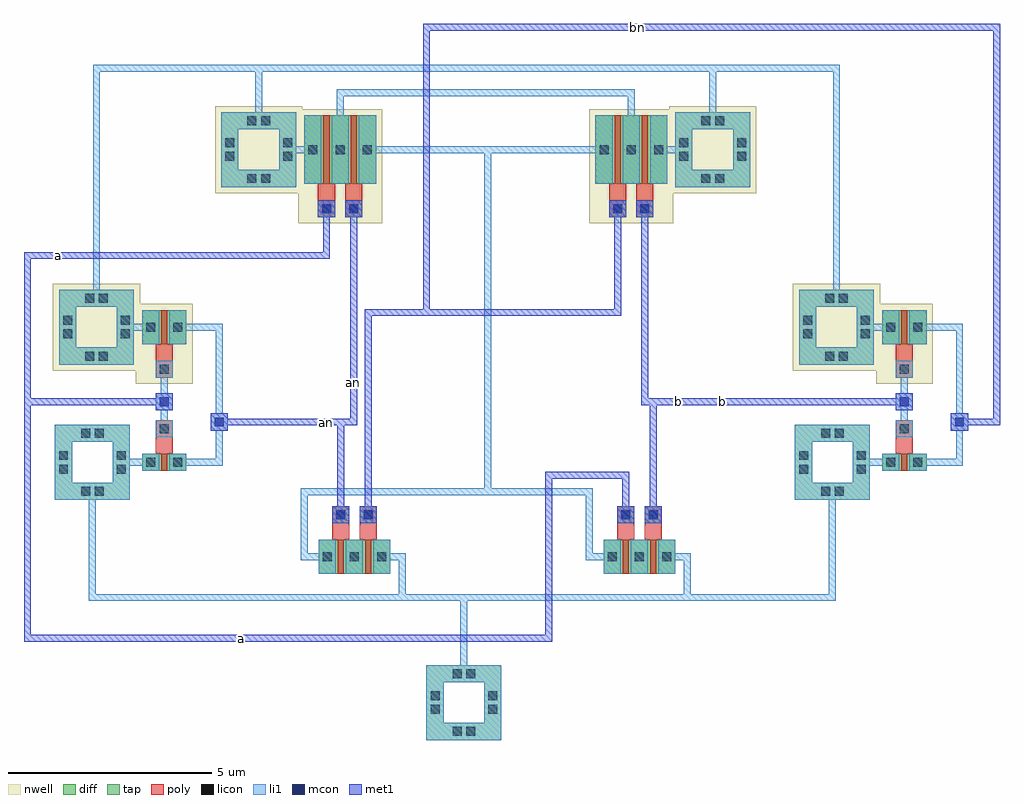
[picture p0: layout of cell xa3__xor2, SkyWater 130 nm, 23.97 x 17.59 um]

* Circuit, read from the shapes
.subckt xa3__xor2 a an b bn vdd vss
XM1 an a vss vss sky130_fd_pr__nfet_01v8 w=0.42 l=0.15
XM2 n1 an core__core$10_0/y vss sky130_fd_pr__nfet_01v8 w=0.84 l=0.15
XM3 vss bn n1 vss sky130_fd_pr__nfet_01v8 w=0.84 l=0.15
XM4 n2 a core__core$10_0/y vss sky130_fd_pr__nfet_01v8 w=0.84 l=0.15
XM5 vss b n2 vss sky130_fd_pr__nfet_01v8 w=0.84 l=0.15
XM6 bn b vss vss sky130_fd_pr__nfet_01v8 w=0.42 l=0.15
XM7 an a vdd vdd sky130_fd_pr__pfet_01v8 w=0.84 l=0.15
XM8 core__core$10_0/mid a vdd vdd sky130_fd_pr__pfet_01v8 w=1.68 l=0.15
XM9 core__core$10_0/y an core__core$10_0/mid vdd sky130_fd_pr__pfet_01v8 w=1.68 l=0.15
XM10 core__core$10_0/mid bn core__core$10_0/y vdd sky130_fd_pr__pfet_01v8 w=1.68 l=0.15
XM11 vdd b core__core$10_0/mid vdd sky130_fd_pr__pfet_01v8 w=1.68 l=0.15
XM12 bn b vdd vdd sky130_fd_pr__pfet_01v8 w=0.84 l=0.15
.ends

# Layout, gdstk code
from math import pi, radians
import gdstk
lib = gdstk.Library(unit=1e-6, precision=1e-09)
def R(c, l, rs):  # rectangles x0, y0, x1, y1
    for r in rs: c.add(gdstk.rectangle(r[:2], r[2:], *l))
def A(c, l, x, y, w, h, nx, ny, dx, dy):  # array of equal rectangles
    R(c, l, [(x+i*dx, y+j*dy, x+i*dx+w, y+j*dy+h) for i in range(nx) for j in range(ny)])
def P(c, l, *ps):  # polygons
    for p in ps: c.add(gdstk.Polygon(p, *l))
nwell = (64, 20)
diff = (65, 20)
tap = (65, 44)
poly = (66, 20)
licon = (66, 44)
li1 = (67, 20)
mcon = (67, 44)
met1 = (68, 20)

guard_ring_4_6 = lib.new_cell('guard_ring$4$6')
P(guard_ring_4_6, tap, [(0,0),(0,1.42),(0.42,1.42),(0.42,0.42),(1.42,0.42),(1.42,1.42),(0,1.42),(0,1.84),(1.84,1.84),(1.84,0)])
R(guard_ring_4_6, licon, [(0.643,0.1,0.863,0.32), (0.977,0.1,1.197,0.32), (0.1,0.643,0.32,0.863), (1.52,0.643,1.74,0.863), (0.1,0.977,0.32,1.197), (1.52,0.977,1.74,1.197), (0.643,1.52,0.863,1.74), (0.977,1.52,1.197,1.74)])
P(guard_ring_4_6, li1, [(0,0),(0,1.42),(0.42,1.42),(0.42,0.42),(1.42,0.42),(1.42,1.42),(0,1.42),(0,1.84),(1.84,1.84),(1.84,0)])

psub_tap__psub_tap_1_6 = lib.new_cell('psub_tap__psub_tap$1$6')
psub_tap__psub_tap_1_6.add(gdstk.Reference(guard_ring_4_6, (0,0)))

mos_array_5_6 = lib.new_cell('mos_array$5$6')
R(mos_array_5_6, diff, [(0,0,1.09,0.42)])
R(mos_array_5_6, poly, [(0.47,0,0.62,0.42), (0.335,0.42,0.755,1.24)])
R(mos_array_5_6, licon, [(0.1,0.1,0.32,0.32), (0.77,0.1,0.99,0.32), (0.435,0.92,0.655,1.14)])
R(mos_array_5_6, li1, [(0,0,0.42,0.42), (0.67,0,1.09,0.42), (0.335,0.82,0.755,1.24)])

mn__nfet_w0p42_l0p15_1_3 = lib.new_cell('mn__nfet_w0p42_l0p15$1$3')
mn__nfet_w0p42_l0p15_1_3.add(gdstk.Reference(mos_array_5_6, (0,0)))

guard_ring_1_2_6 = lib.new_cell('guard_ring$1$2$6')
R(guard_ring_1_2_6, nwell, [(-0.15,-0.15,1.99,1.99)])
P(guard_ring_1_2_6, tap, [(0,0),(0,1.42),(0.42,1.42),(0.42,0.42),(1.42,0.42),(1.42,1.42),(0,1.42),(0,1.84),(1.84,1.84),(1.84,0)])
R(guard_ring_1_2_6, licon, [(0.643,0.1,0.863,0.32), (0.977,0.1,1.197,0.32), (0.1,0.643,0.32,0.863), (1.52,0.643,1.74,0.863), (0.1,0.977,0.32,1.197), (1.52,0.977,1.74,1.197), (0.643,1.52,0.863,1.74), (0.977,1.52,1.197,1.74)])
P(guard_ring_1_2_6, li1, [(0,0),(0,1.42),(0.42,1.42),(0.42,0.42),(1.42,0.42),(1.42,1.42),(0,1.42),(0,1.84),(1.84,1.84),(1.84,0)])

nwell_tap__nwell_tap_1_6 = lib.new_cell('nwell_tap__nwell_tap$1$6')
nwell_tap__nwell_tap_1_6.add(gdstk.Reference(guard_ring_1_2_6, (0,0)))

mos_array_1_2_6 = lib.new_cell('mos_array$1$2$6')
R(mos_array_1_2_6, nwell, [(-0.15,-0.15,1.24,1.81)])
R(mos_array_1_2_6, diff, [(0,0,1.09,0.84)])
R(mos_array_1_2_6, poly, [(0.47,0,0.62,0.84), (0.335,0.84,0.755,1.66)])
R(mos_array_1_2_6, licon, [(0.1,0.31,0.32,0.53), (0.77,0.31,0.99,0.53), (0.435,1.34,0.655,1.56)])
R(mos_array_1_2_6, li1, [(0,0,0.42,0.84), (0.67,0,1.09,0.84), (0.335,1.24,0.755,1.66)])

mp__pfet_w0p84_l0p15_1_3 = lib.new_cell('mp__pfet_w0p84_l0p15$1$3')
mp__pfet_w0p84_l0p15_1_3.add(gdstk.Reference(mos_array_1_2_6, (0,0)))

inv_b__ro_buf_2 = lib.new_cell('inv_b__ro_buf$2')
R(inv_b__ro_buf_2, li1, [(0.335,1.03,0.755,1.2), (0.335,2.33,0.755,2.5)])
inv_b__ro_buf_2.add(gdstk.FlexPath([(0.545,2.5),(0.545,1.03)], 0.17, ends="flush", simple_path=True, layer=67, datatype=20))  # li1
inv_b__ro_buf_2.add(gdstk.FlexPath([(0.88,3.53),(1.9,3.53),(1.9,0.21),(0.88,0.21)], 0.17, ends="flush", simple_path=True, layer=67, datatype=20))  # li1
inv_b__ro_buf_2.add(gdstk.FlexPath([(0.21,3.53),(-0.41,3.53)], 0.17, ends="flush", simple_path=True, layer=67, datatype=20))  # li1
inv_b__ro_buf_2.add(gdstk.FlexPath([(0.21,0.21),(-0.51,0.21)], 0.17, ends="flush", simple_path=True, layer=67, datatype=20))  # li1
inv_b__ro_buf_2.add(gdstk.Reference(psub_tap__psub_tap_1_6, (-2.14,-0.71)))
inv_b__ro_buf_2.add(gdstk.Reference(mn__nfet_w0p42_l0p15_1_3, (0,0)))
inv_b__ro_buf_2.add(gdstk.Reference(nwell_tap__nwell_tap_1_6, (-2.04,2.61)))
inv_b__ro_buf_2.add(gdstk.Reference(mp__pfet_w0p84_l0p15_1_3, (0,3.95), x_reflection=True))
inv_b__ro_buf_2.add(gdstk.Label('a', (0.545,1.765), layer=67, texttype=5))
inv_b__ro_buf_2.add(gdstk.Label('y', (1.9,1.87), layer=67, texttype=5))
inv_b__ro_buf_2.add(gdstk.Label('vdd', (-0.1,3.53), layer=67, texttype=5))
inv_b__ro_buf_2.add(gdstk.Label('vss', (-0.15,0.21), layer=67, texttype=5))
inv_b__ro_buf_2.add(gdstk.Label('vdd', (-1.12,4.24), layer=67, texttype=5))
inv_b__ro_buf_2.add(gdstk.Label('vss', (-1.22,0.92), layer=67, texttype=5))

guard_ring_3_6 = lib.new_cell('guard_ring$3$6')
P(guard_ring_3_6, tap, [(0,0),(0,1.42),(0.42,1.42),(0.42,0.42),(1.42,0.42),(1.42,1.42),(0,1.42),(0,1.84),(1.84,1.84),(1.84,0)])
R(guard_ring_3_6, licon, [(0.643,0.1,0.863,0.32), (0.977,0.1,1.197,0.32), (0.1,0.643,0.32,0.863), (1.52,0.643,1.74,0.863), (0.1,0.977,0.32,1.197), (1.52,0.977,1.74,1.197), (0.643,1.52,0.863,1.74), (0.977,1.52,1.197,1.74)])
P(guard_ring_3_6, li1, [(0,0),(0,1.42),(0.42,1.42),(0.42,0.42),(1.42,0.42),(1.42,1.42),(0,1.42),(0,1.84),(1.84,1.84),(1.84,0)])

psub_tap__psub_tap_14 = lib.new_cell('psub_tap__psub_tap$14')
psub_tap__psub_tap_14.add(gdstk.Reference(guard_ring_3_6, (0,0)))

mos_array_4_6 = lib.new_cell('mos_array$4$6')
R(mos_array_4_6, diff, [(0,0,1.09,0.42)])
R(mos_array_4_6, poly, [(0.47,0,0.62,0.42), (0.335,0.42,0.755,1.24)])
R(mos_array_4_6, licon, [(0.1,0.1,0.32,0.32), (0.77,0.1,0.99,0.32), (0.435,0.92,0.655,1.14)])
R(mos_array_4_6, li1, [(0,0,0.42,0.42), (0.67,0,1.09,0.42), (0.335,0.82,0.755,1.24)])

mn__nfet_w0p42_l0p15_6 = lib.new_cell('mn__nfet_w0p42_l0p15$6')
mn__nfet_w0p42_l0p15_6.add(gdstk.Reference(mos_array_4_6, (0,0)))

guard_ring_1_1_6 = lib.new_cell('guard_ring$1$1$6')
R(guard_ring_1_1_6, nwell, [(-0.15,-0.15,1.99,1.99)])
P(guard_ring_1_1_6, tap, [(0,0),(0,1.42),(0.42,1.42),(0.42,0.42),(1.42,0.42),(1.42,1.42),(0,1.42),(0,1.84),(1.84,1.84),(1.84,0)])
R(guard_ring_1_1_6, licon, [(0.643,0.1,0.863,0.32), (0.977,0.1,1.197,0.32), (0.1,0.643,0.32,0.863), (1.52,0.643,1.74,0.863), (0.1,0.977,0.32,1.197), (1.52,0.977,1.74,1.197), (0.643,1.52,0.863,1.74), (0.977,1.52,1.197,1.74)])
P(guard_ring_1_1_6, li1, [(0,0),(0,1.42),(0.42,1.42),(0.42,0.42),(1.42,0.42),(1.42,1.42),(0,1.42),(0,1.84),(1.84,1.84),(1.84,0)])

nwell_tap__nwell_tap_14 = lib.new_cell('nwell_tap__nwell_tap$14')
nwell_tap__nwell_tap_14.add(gdstk.Reference(guard_ring_1_1_6, (0,0)))

mos_array_1_1_6 = lib.new_cell('mos_array$1$1$6')
R(mos_array_1_1_6, nwell, [(-0.15,-0.15,1.24,1.81)])
R(mos_array_1_1_6, diff, [(0,0,1.09,0.84)])
R(mos_array_1_1_6, poly, [(0.47,0,0.62,0.84), (0.335,0.84,0.755,1.66)])
R(mos_array_1_1_6, licon, [(0.1,0.31,0.32,0.53), (0.77,0.31,0.99,0.53), (0.435,1.34,0.655,1.56)])
R(mos_array_1_1_6, li1, [(0,0,0.42,0.84), (0.67,0,1.09,0.84), (0.335,1.24,0.755,1.66)])

mp__pfet_w0p84_l0p15_6 = lib.new_cell('mp__pfet_w0p84_l0p15$6')
mp__pfet_w0p84_l0p15_6.add(gdstk.Reference(mos_array_1_1_6, (0,0)))

inv_a__ro_buf_2 = lib.new_cell('inv_a__ro_buf$2')
R(inv_a__ro_buf_2, li1, [(0.335,1.03,0.755,1.2), (0.335,2.33,0.755,2.5)])
inv_a__ro_buf_2.add(gdstk.FlexPath([(0.545,2.5),(0.545,1.03)], 0.17, ends="flush", simple_path=True, layer=67, datatype=20))  # li1
inv_a__ro_buf_2.add(gdstk.FlexPath([(0.88,3.53),(1.9,3.53),(1.9,0.21),(0.88,0.21)], 0.17, ends="flush", simple_path=True, layer=67, datatype=20))  # li1
inv_a__ro_buf_2.add(gdstk.FlexPath([(0.21,3.53),(-0.41,3.53)], 0.17, ends="flush", simple_path=True, layer=67, datatype=20))  # li1
inv_a__ro_buf_2.add(gdstk.FlexPath([(0.21,0.21),(-0.51,0.21)], 0.17, ends="flush", simple_path=True, layer=67, datatype=20))  # li1
inv_a__ro_buf_2.add(gdstk.Reference(psub_tap__psub_tap_14, (-2.14,-0.71)))
inv_a__ro_buf_2.add(gdstk.Reference(mn__nfet_w0p42_l0p15_6, (0,0)))
inv_a__ro_buf_2.add(gdstk.Reference(nwell_tap__nwell_tap_14, (-2.04,2.61)))
inv_a__ro_buf_2.add(gdstk.Reference(mp__pfet_w0p84_l0p15_6, (0,3.95), x_reflection=True))
inv_a__ro_buf_2.add(gdstk.Label('a', (0.545,1.765), layer=67, texttype=5))
inv_a__ro_buf_2.add(gdstk.Label('y', (1.9,1.87), layer=67, texttype=5))
inv_a__ro_buf_2.add(gdstk.Label('vdd', (-0.1,3.53), layer=67, texttype=5))
inv_a__ro_buf_2.add(gdstk.Label('vss', (-0.15,0.21), layer=67, texttype=5))
inv_a__ro_buf_2.add(gdstk.Label('vdd', (-1.12,4.24), layer=67, texttype=5))
inv_a__ro_buf_2.add(gdstk.Label('vss', (-1.22,0.92), layer=67, texttype=5))

guard_ring_2_6 = lib.new_cell('guard_ring$2$6')
P(guard_ring_2_6, tap, [(0,0),(0,1.42),(0.42,1.42),(0.42,0.42),(1.42,0.42),(1.42,1.42),(0,1.42),(0,1.84),(1.84,1.84),(1.84,0)])
R(guard_ring_2_6, licon, [(0.643,0.1,0.863,0.32), (0.977,0.1,1.197,0.32), (0.1,0.643,0.32,0.863), (1.52,0.643,1.74,0.863), (0.1,0.977,0.32,1.197), (1.52,0.977,1.74,1.197), (0.643,1.52,0.863,1.74), (0.977,1.52,1.197,1.74)])
P(guard_ring_2_6, li1, [(0,0),(0,1.42),(0.42,1.42),(0.42,0.42),(1.42,0.42),(1.42,1.42),(0,1.42),(0,1.84),(1.84,1.84),(1.84,0)])

pst__pst_2 = lib.new_cell('pst__pst$2')
pst__pst_2.add(gdstk.Reference(guard_ring_2_6, (0,0)))

guard_ring_1_14 = lib.new_cell('guard_ring$1$14')
R(guard_ring_1_14, nwell, [(-0.15,-0.15,1.99,1.99)])
P(guard_ring_1_14, tap, [(0,0),(0,1.42),(0.42,1.42),(0.42,0.42),(1.42,0.42),(1.42,1.42),(0,1.42),(0,1.84),(1.84,1.84),(1.84,0)])
R(guard_ring_1_14, licon, [(0.643,0.1,0.863,0.32), (0.977,0.1,1.197,0.32), (0.1,0.643,0.32,0.863), (1.52,0.643,1.74,0.863), (0.1,0.977,0.32,1.197), (1.52,0.977,1.74,1.197), (0.643,1.52,0.863,1.74), (0.977,1.52,1.197,1.74)])
P(guard_ring_1_14, li1, [(0,0),(0,1.42),(0.42,1.42),(0.42,0.42),(1.42,0.42),(1.42,1.42),(0,1.42),(0,1.84),(1.84,1.84),(1.84,0)])

nwt2__nwt2_2 = lib.new_cell('nwt2__nwt2$2')
nwt2__nwt2_2.add(gdstk.Reference(guard_ring_1_14, (0,0)))

guard_ring_15 = lib.new_cell('guard_ring$15')
R(guard_ring_15, nwell, [(-0.15,-0.15,1.99,1.99)])
P(guard_ring_15, tap, [(0,0),(0,1.42),(0.42,1.42),(0.42,0.42),(1.42,0.42),(1.42,1.42),(0,1.42),(0,1.84),(1.84,1.84),(1.84,0)])
R(guard_ring_15, licon, [(0.643,0.1,0.863,0.32), (0.977,0.1,1.197,0.32), (0.1,0.643,0.32,0.863), (1.52,0.643,1.74,0.863), (0.1,0.977,0.32,1.197), (1.52,0.977,1.74,1.197), (0.643,1.52,0.863,1.74), (0.977,1.52,1.197,1.74)])
P(guard_ring_15, li1, [(0,0),(0,1.42),(0.42,1.42),(0.42,0.42),(1.42,0.42),(1.42,1.42),(0,1.42),(0,1.84),(1.84,1.84),(1.84,0)])

nwt1__nwt1_2 = lib.new_cell('nwt1__nwt1$2')
nwt1__nwt1_2.add(gdstk.Reference(guard_ring_15, (0,0)))

mos_array_3_10 = lib.new_cell('mos_array$3$10')
R(mos_array_3_10, diff, [(0,0,1.76,0.84)])
R(mos_array_3_10, poly, [(0.47,0,0.62,0.84), (1.14,0,1.29,0.84), (0.335,0.84,0.755,1.66), (1.005,0.84,1.425,1.66)])
A(mos_array_3_10, licon, 0.1, 0.31, 0.22, 0.22, 3, 1, 0.67, 0)
R(mos_array_3_10, licon, [(0.435,1.34,0.655,1.56), (1.105,1.34,1.325,1.56)])
A(mos_array_3_10, li1, 0, 0, 0.42, 0.84, 3, 1, 0.67, 0)
R(mos_array_3_10, li1, [(0.335,1.24,0.755,1.66), (1.005,1.24,1.425,1.66)])

mn12__mn12_2 = lib.new_cell('mn12__mn12$2')
mn12__mn12_2.add(gdstk.Reference(mos_array_3_10, (0,0)))

mos_array_2_10 = lib.new_cell('mos_array$2$10')
R(mos_array_2_10, diff, [(0,0,1.76,0.84)])
R(mos_array_2_10, poly, [(0.47,0,0.62,0.84), (1.14,0,1.29,0.84), (0.335,0.84,0.755,1.66), (1.005,0.84,1.425,1.66)])
A(mos_array_2_10, licon, 0.1, 0.31, 0.22, 0.22, 3, 1, 0.67, 0)
R(mos_array_2_10, licon, [(0.435,1.34,0.655,1.56), (1.105,1.34,1.325,1.56)])
A(mos_array_2_10, li1, 0, 0, 0.42, 0.84, 3, 1, 0.67, 0)
R(mos_array_2_10, li1, [(0.335,1.24,0.755,1.66), (1.005,1.24,1.425,1.66)])

mn34__mn34_2 = lib.new_cell('mn34__mn34$2')
mn34__mn34_2.add(gdstk.Reference(mos_array_2_10, (0,0)))

mos_array_1_14 = lib.new_cell('mos_array$1$14')
R(mos_array_1_14, nwell, [(-0.15,-0.15,1.91,2.65)])
R(mos_array_1_14, diff, [(0,0,1.76,1.68)])
R(mos_array_1_14, poly, [(0.47,0,0.62,1.68), (1.14,0,1.29,1.68), (0.335,1.68,0.755,2.5), (1.005,1.68,1.425,2.5)])
A(mos_array_1_14, licon, 0.1, 0.73, 0.22, 0.22, 3, 1, 0.67, 0)
R(mos_array_1_14, licon, [(0.435,2.18,0.655,2.4), (1.105,2.18,1.325,2.4)])
A(mos_array_1_14, li1, 0, 0, 0.42, 1.68, 3, 1, 0.67, 0)
R(mos_array_1_14, li1, [(0.335,2.08,0.755,2.5), (1.005,2.08,1.425,2.5)])

mp24__mp24_2 = lib.new_cell('mp24__mp24$2')
mp24__mp24_2.add(gdstk.Reference(mos_array_1_14, (0,0)))

mos_array_18 = lib.new_cell('mos_array$18')
R(mos_array_18, nwell, [(-0.15,-0.15,1.91,2.65)])
R(mos_array_18, diff, [(0,0,1.76,1.68)])
R(mos_array_18, poly, [(0.47,0,0.62,1.68), (1.14,0,1.29,1.68), (0.335,1.68,0.755,2.5), (1.005,1.68,1.425,2.5)])
A(mos_array_18, licon, 0.1, 0.73, 0.22, 0.22, 3, 1, 0.67, 0)
R(mos_array_18, licon, [(0.435,2.18,0.655,2.4), (1.105,2.18,1.325,2.4)])
A(mos_array_18, li1, 0, 0, 0.42, 1.68, 3, 1, 0.67, 0)
R(mos_array_18, li1, [(0.335,2.08,0.755,2.5), (1.005,2.08,1.425,2.5)])

mp13__mp13_2 = lib.new_cell('mp13__mp13$2')
mp13__mp13_2.add(gdstk.Reference(mos_array_18, (0,0)))

core__core_10 = lib.new_cell('core__core$10')
R(core__core_10, li1, [(3.71,0.13,4.13,0.3), (3.71,0.13,4.13,0.3), (-5.415,4.44,-4.995,4.61), (12.76,4.44,13.18,4.61), (-5.315,9.35,-4.895,9.52), (12.86,9.35,13.28,9.52), (0.67,13,1.09,13.17), (7.82,13,8.24,13.17), (-1.33,13.71,-0.91,13.88), (-1.33,13.71,-0.91,13.88), (9.82,13.71,10.24,13.88), (9.82,13.71,10.24,13.88)])
core__core_10.add(gdstk.FlexPath([(0.21,13),(-0.41,13)], 0.17, ends="flush", simple_path=True, layer=67, datatype=20))  # li1
core__core_10.add(gdstk.FlexPath([(8.7,13),(9.32,13)], 0.17, ends="flush", simple_path=True, layer=67, datatype=20))  # li1
core__core_10.add(gdstk.FlexPath([(-5.105,9.35),(-5.105,15),(-1.12,15),(-1.12,13.71)], 0.17, ends="flush", simple_path=True, layer=67, datatype=20))  # li1
core__core_10.add(gdstk.FlexPath([(-1.12,13.71),(-1.12,15),(10.03,15),(10.03,13.71)], 0.17, ends="flush", simple_path=True, layer=67, datatype=20))  # li1
core__core_10.add(gdstk.FlexPath([(10.03,13.71),(10.03,15),(13.07,15),(13.07,9.35)], 0.17, ends="flush", simple_path=True, layer=67, datatype=20))  # li1
core__core_10.add(gdstk.FlexPath([(0.88,13),(0.88,14.4),(8.03,14.4),(8.03,13)], 0.17, ends="flush", simple_path=True, layer=67, datatype=20))  # li1
core__core_10.add(gdstk.FlexPath([(1.55,13),(7.36,13)], 0.17, ends="flush", simple_path=True, layer=67, datatype=20))  # li1
core__core_10.add(gdstk.FlexPath([(7.36,13),(4.5,13),(4.5,4.6),(7,4.6),(7,3),(7.56,3)], 0.17, ends="flush", simple_path=True, layer=67, datatype=20))  # li1
core__core_10.add(gdstk.FlexPath([(7.56,3),(7,3),(7,4.6),(0,4.6),(0,3),(0.56,3)], 0.17, ends="flush", simple_path=True, layer=67, datatype=20))  # li1
core__core_10.add(gdstk.FlexPath([(-5.205,4.61),(-5.205,2),(2.4,2),(2.4,3),(1.9,3)], 0.17, ends="flush", simple_path=True, layer=67, datatype=20))  # li1
core__core_10.add(gdstk.FlexPath([(1.9,3),(2.4,3),(2.4,2),(3.92,2),(3.92,0.13)], 0.17, ends="flush", simple_path=True, layer=67, datatype=20))  # li1
core__core_10.add(gdstk.FlexPath([(3.92,0.13),(3.92,2),(9.4,2),(9.4,3),(8.9,3)], 0.17, ends="flush", simple_path=True, layer=67, datatype=20))  # li1
core__core_10.add(gdstk.FlexPath([(8.9,3),(9.4,3),(9.4,2),(12.97,2),(12.97,4.61)], 0.17, ends="flush", simple_path=True, layer=67, datatype=20))  # li1
core__core_10.add(gdstk.Reference(inv_b__ro_buf_2, (14.19,5.11)))
core__core_10.add(gdstk.Reference(inv_a__ro_buf_2, (-3.985,5.11)))
core__core_10.add(gdstk.Reference(pst__pst_2, (3,-1.5)))
core__core_10.add(gdstk.Reference(nwt2__nwt2_2, (9.11,12.08)))
core__core_10.add(gdstk.Reference(nwt1__nwt1_2, (-2.04,12.08)))
core__core_10.add(gdstk.Reference(mn12__mn12_2, (7.35,2.58)))
core__core_10.add(gdstk.Reference(mn34__mn34_2, (0.35,2.58)))
core__core_10.add(gdstk.Reference(mp24__mp24_2, (8.91,13.84), rotation=pi))
core__core_10.add(gdstk.Reference(mp13__mp13_2, (0,13.84), x_reflection=True))
core__core_10.add(gdstk.Label('vdd', (-0.1,13), layer=67, texttype=5))
core__core_10.add(gdstk.Label('vdd', (9.01,13), layer=67, texttype=5))
core__core_10.add(gdstk.Label('vdd', (-5.105,14.812), layer=67, texttype=5))
core__core_10.add(gdstk.Label('vdd', (4.455,15), layer=67, texttype=5))
core__core_10.add(gdstk.Label('vdd', (13.07,14.34), layer=67, texttype=5))
core__core_10.add(gdstk.Label('mid', (4.455,14.4), layer=67, texttype=5))
core__core_10.add(gdstk.Label('y', (4.455,13), layer=67, texttype=5))
core__core_10.add(gdstk.Label('y', (4.5,7.9), layer=67, texttype=5))
core__core_10.add(gdstk.Label('y', (3.5,4.6), layer=67, texttype=5))
core__core_10.add(gdstk.Label('vss', (-1.958,2), layer=67, texttype=5))
core__core_10.add(gdstk.Label('vss', (3.345,2), layer=67, texttype=5))
core__core_10.add(gdstk.Label('vss', (6.475,2), layer=67, texttype=5))
core__core_10.add(gdstk.Label('vss', (11.74,2), layer=67, texttype=5))
core__core_10.add(gdstk.Label('mp13_g0', (0.545,11.55), layer=67, texttype=5))
core__core_10.add(gdstk.Label('mp13_g1', (1.215,11.55), layer=67, texttype=5))
core__core_10.add(gdstk.Label('mp24_g0', (8.365,11.55), layer=67, texttype=5))
core__core_10.add(gdstk.Label('mp24_g1', (7.695,11.55), layer=67, texttype=5))
core__core_10.add(gdstk.Label('mn34_g0', (0.895,4.03), layer=67, texttype=5))
core__core_10.add(gdstk.Label('mn34_g1', (1.565,4.03), layer=67, texttype=5))
core__core_10.add(gdstk.Label('mn12_g0', (7.895,4.03), layer=67, texttype=5))
core__core_10.add(gdstk.Label('mn12_g1', (8.565,4.03), layer=67, texttype=5))
core__core_10.add(gdstk.Label('inva_a', (-3.44,6.81), layer=67, texttype=5))
core__core_10.add(gdstk.Label('inva_y', (-2.085,6.31), layer=67, texttype=5))
core__core_10.add(gdstk.Label('invb_a', (14.735,6.81), layer=67, texttype=5))
core__core_10.add(gdstk.Label('invb_y', (16.09,6.31), layer=67, texttype=5))

xa3__xor2 = lib.new_cell('xa3__xor2')
R(xa3__xor2, li1, [(0.685,3.82,1.105,4.24), (1.355,3.82,1.775,4.24), (7.685,3.82,8.105,4.24), (8.355,3.82,8.775,4.24), (-2.295,6.1,-1.875,6.52), (-2.295,6.1,-1.875,6.52), (15.88,6.1,16.3,6.52), (15.88,6.1,16.3,6.52), (-3.65,6.6,-3.23,7.02), (-3.65,6.6,-3.23,7.02), (14.525,6.6,14.945,7.02), (14.525,6.6,14.945,7.02), (0.335,11.34,0.755,11.76), (1.005,11.34,1.425,11.76), (7.485,11.34,7.905,11.76), (8.155,11.34,8.575,11.76)])
R(xa3__xor2, mcon, [(0.785,3.92,1.005,4.14), (1.455,3.92,1.675,4.14), (7.785,3.92,8.005,4.14), (8.455,3.92,8.675,4.14), (-2.195,6.2,-1.975,6.42), (-2.195,6.2,-1.975,6.42), (15.98,6.2,16.2,6.42), (15.98,6.2,16.2,6.42), (-3.55,6.7,-3.33,6.92), (-3.55,6.7,-3.33,6.92), (14.625,6.7,14.845,6.92), (14.625,6.7,14.845,6.92), (0.435,11.44,0.655,11.66), (1.105,11.44,1.325,11.66), (7.585,11.44,7.805,11.66), (8.255,11.44,8.475,11.66)])
R(xa3__xor2, met1, [(0.685,3.82,1.105,4.24), (1.355,3.82,1.775,4.24), (7.685,3.82,8.105,4.24), (8.355,3.82,8.775,4.24), (-2.295,6.1,-1.875,6.52), (-2.295,6.1,-1.875,6.52), (15.88,6.1,16.3,6.52), (15.88,6.1,16.3,6.52), (-3.65,6.6,-3.23,7.02), (-3.65,6.6,-3.23,7.02), (14.525,6.6,14.945,7.02), (14.525,6.6,14.945,7.02), (0.335,11.34,0.755,11.76), (1.005,11.34,1.425,11.76), (7.485,11.34,7.905,11.76), (8.155,11.34,8.575,11.76)])
xa3__xor2.add(gdstk.FlexPath([(0.545,11.55),(0.545,10.4),(-6.8,10.4),(-6.8,6.81),(-3.44,6.81)], 0.17, ends="flush", simple_path=True, layer=68, datatype=20))  # met1
xa3__xor2.add(gdstk.FlexPath([(-3.44,6.81),(-6.8,6.81),(-6.8,1),(6,1),(6,5),(7.895,5),(7.895,4.03)], 0.17, ends="flush", simple_path=True, layer=68, datatype=20))  # met1
xa3__xor2.add(gdstk.FlexPath([(-2.085,6.31),(1.215,6.31),(1.215,11.55)], 0.17, ends="flush", simple_path=True, layer=68, datatype=20))  # met1
xa3__xor2.add(gdstk.FlexPath([(-2.085,6.31),(0.895,6.31),(0.895,4.03)], 0.17, ends="flush", simple_path=True, layer=68, datatype=20))  # met1
xa3__xor2.add(gdstk.FlexPath([(14.735,6.81),(8.365,6.81),(8.365,11.55)], 0.17, ends="flush", simple_path=True, layer=68, datatype=20))  # met1
xa3__xor2.add(gdstk.FlexPath([(14.735,6.81),(8.565,6.81),(8.565,4.03)], 0.17, ends="flush", simple_path=True, layer=68, datatype=20))  # met1
xa3__xor2.add(gdstk.FlexPath([(16.09,6.31),(17,6.31),(17,16),(3,16),(3,9),(7.695,9),(7.695,11.55)], 0.17, ends="flush", simple_path=True, layer=68, datatype=20))  # met1
xa3__xor2.add(gdstk.FlexPath([(16.09,6.31),(17,6.31),(17,16),(3,16),(3,9),(1.565,9),(1.565,4.03)], 0.17, ends="flush", simple_path=True, layer=68, datatype=20))  # met1
xa3__xor2.add(gdstk.Reference(core__core_10, (0,0)))
xa3__xor2.add(gdstk.Label('a', (-6.028,10.4), layer=68, texttype=5))
xa3__xor2.add(gdstk.Label('a', (-1.553,1), layer=68, texttype=5))
xa3__xor2.add(gdstk.Label('an', (1.215,7.28), layer=68, texttype=5))
xa3__xor2.add(gdstk.Label('an', (0.545,6.31), layer=68, texttype=5))
xa3__xor2.add(gdstk.Label('b', (9.18,6.81), layer=68, texttype=5))
xa3__xor2.add(gdstk.Label('b', (10.26,6.81), layer=68, texttype=5))
xa3__xor2.add(gdstk.Label('bn', (8.178,16), layer=68, texttype=5))
xa3__xor2.add(gdstk.Label('bn', (8.598,16), layer=68, texttype=5))

lib.write_gds('xa3__xor2.gds')
